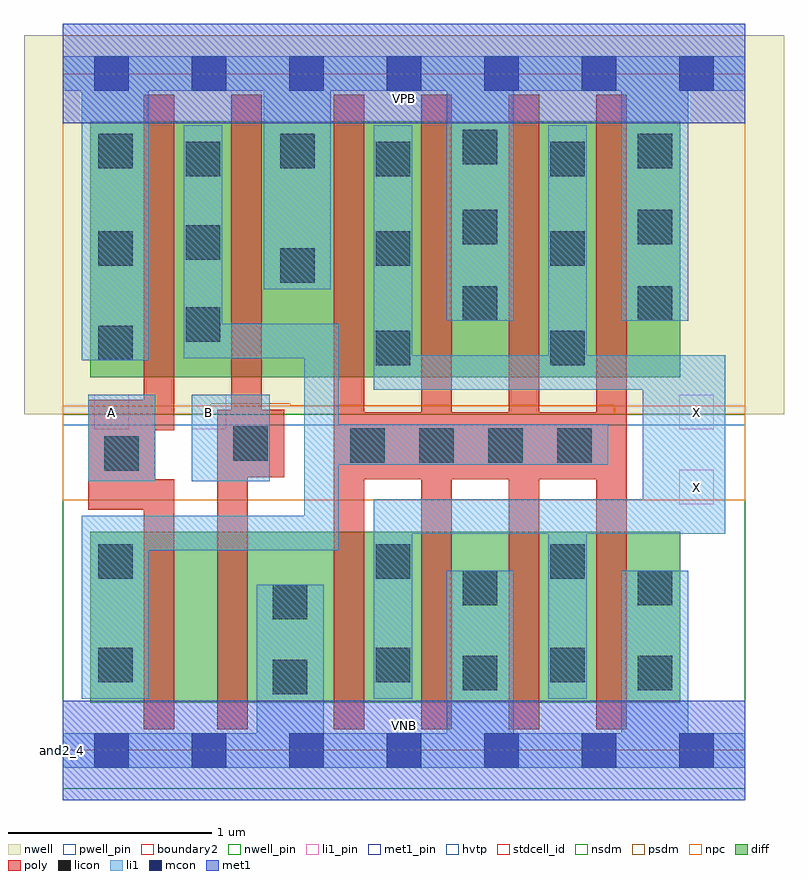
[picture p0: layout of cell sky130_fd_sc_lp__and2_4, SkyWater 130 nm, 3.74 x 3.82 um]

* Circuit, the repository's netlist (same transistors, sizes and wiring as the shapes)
* Copyright 2020 The SkyWater PDK Authors
*
* Licensed under the Apache License, Version 2.0 (the "License");
* you may not use this file except in compliance with the License.
* You may obtain a copy of the License at
*
*     https://www.apache.org/licenses/LICENSE-2.0
*
* Unless required by applicable law or agreed to in writing, software
* distributed under the License is distributed on an "AS IS" BASIS,
* WITHOUT WARRANTIES OR CONDITIONS OF ANY KIND, either express or implied.
* See the License for the specific language governing permissions and
* limitations under the License.
*
* SPDX-License-Identifier: Apache-2.0

.SUBCKT sky130_fd_sc_lp__and2_4 A B VGND VNB VPB VPWR X
*.PININFO A:I B:I VGND:I VNB:I VPB:I VPWR:I X:O
MMP0 y A VPWR VPB sky130_fd_pr__pfet_01v8_hvt m=1 w=1.26U l=0.15U mult=1 sa=0.265
+ sb=0.265 sd=0.28 area=0.063 perim=1.14
MMP1 y B VPWR VPB sky130_fd_pr__pfet_01v8_hvt m=1 w=1.26U l=0.15U mult=1 sa=0.265
+ sb=0.265 sd=0.28 area=0.063 perim=1.14
MMIP0 X y VPWR VPB sky130_fd_pr__pfet_01v8_hvt m=4 w=1.26U l=0.15U mult=1 sa=0.265
+ sb=0.265 sd=0.28 area=0.063 perim=1.14
MMN0 y A sndA VNB sky130_fd_pr__nfet_01v8 m=1 w=0.84U l=0.15U mult=1 sa=0.265 sb=0.265
+ sd=0.28 area=0.063 perim=1.14
MMN1 sndA B VGND VNB sky130_fd_pr__nfet_01v8 m=1 w=0.84U l=0.15U mult=1 sa=0.265
+ sb=0.265 sd=0.28 area=0.063 perim=1.14
MMIN0 X y VGND VNB sky130_fd_pr__nfet_01v8 m=4 w=0.84U l=0.15U mult=1 sa=0.265
+ sb=0.265 sd=0.28 area=0.063 perim=1.14
.ENDS sky130_fd_sc_lp__and2_4

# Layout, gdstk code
import gdstk
lib = gdstk.Library(unit=1e-6, precision=1e-09)
def R(c, l, rs):  # rectangles x0, y0, x1, y1
    for r in rs: c.add(gdstk.rectangle(r[:2], r[2:], *l))
def A(c, l, x, y, w, h, nx, ny, dx, dy):  # array of equal rectangles
    R(c, l, [(x+i*dx, y+j*dy, x+i*dx+w, y+j*dy+h) for i in range(nx) for j in range(ny)])
def P(c, l, *ps):  # polygons
    for p in ps: c.add(gdstk.Polygon(p, *l))
nwell_pin = (64, 16)
nwell = (64, 20)
diff = (65, 20)
poly = (66, 20)
licon = (66, 44)
li1_pin = (67, 16)
li1 = (67, 20)
mcon = (67, 44)
met1_pin = (68, 16)
met1 = (68, 20)
hvtp = (78, 44)
stdcell_id = (81, 4)
nsdm = (93, 44)
psdm = (94, 20)
npc = (95, 20)
pwell_pin = (122, 16)
boundary2 = (236, 0)

sky130_fd_sc_lp__and2_4 = lib.new_cell('sky130_fd_sc_lp__and2_4')
R(sky130_fd_sc_lp__and2_4, nwell_pin, [(0,3.085,3.36,3.33)])
R(sky130_fd_sc_lp__and2_4, nwell, [(-0.19,1.655,3.55,3.52)])
R(sky130_fd_sc_lp__and2_4, diff, [(0.135,0.235,3.04,1.075), (0.135,1.835,3.04,3.095)])
P(sky130_fd_sc_lp__and2_4, poly, [(0.55,1.335),(0.455,1.335),(0.455,1.575),(0.55,1.575),(0.55,3.225),(0.4,3.225),(0.4,1.725),(0.125,1.725),(0.125,1.185),(0.4,1.185),(0.4,0.105),(0.55,0.105)],
  [(1.09,1.675),(0.98,1.675),(0.98,3.225),(0.83,3.225),(0.83,1.675),(0.76,1.675),(0.76,0.105),(0.91,0.105),(0.91,1.345),(1.09,1.345)],
  [(2.775,3.225),(2.625,3.225),(2.625,1.665),(2.345,1.665),(2.345,3.225),(2.195,3.225),(2.195,1.665),(1.915,1.665),(1.915,3.225),(1.765,3.225),(1.765,1.665),(1.485,1.665),(1.485,3.225),(1.335,3.225),(1.335,0.105),(1.485,0.105),(1.485,1.335),(1.765,1.335),(1.765,0.105),(1.915,0.105),(1.915,1.335),(2.195,1.335),(2.195,0.105),(2.345,0.105),(2.345,1.335),(2.625,1.335),(2.625,0.105),(2.775,0.105)])
A(sky130_fd_sc_lp__and2_4, licon, 1.415, 1.415, 0.17, 0.17, 4, 1, 0.34, 0)
A(sky130_fd_sc_lp__and2_4, licon, 2.83, 2.115, 0.17, 0.17, 1, 3, 0, 0.375)
R(sky130_fd_sc_lp__and2_4, licon, [(1.035,0.275,1.205,0.445), (1.97,0.295,2.14,0.465), (2.83,0.295,3,0.465), (0.175,0.335,0.345,0.505), (1.54,0.335,1.71,0.505), (2.4,0.335,2.57,0.505), (1.035,0.645,1.205,0.815), (1.97,0.715,2.14,0.885), (2.83,0.715,3,0.885), (0.175,0.845,0.345,1.015), (1.54,0.845,1.71,1.015), (2.4,0.845,2.57,1.015), (0.205,1.375,0.375,1.545), (0.84,1.425,1.01,1.595), (1.54,1.895,1.71,2.065), (2.4,1.895,2.57,2.065), (0.175,1.92,0.345,2.09), (0.605,2.01,0.775,2.18), (1.97,2.115,2.14,2.285), (1.07,2.3,1.24,2.47), (0.175,2.385,0.345,2.555), (1.54,2.385,1.71,2.555), (2.4,2.385,2.57,2.555), (0.605,2.415,0.775,2.585), (1.97,2.49,2.14,2.66), (0.605,2.825,0.775,2.995), (1.54,2.825,1.71,2.995), (2.4,2.825,2.57,2.995), (0.175,2.865,0.345,3.035), (1.07,2.865,1.24,3.035), (1.97,2.885,2.14,3.055)])
R(sky130_fd_sc_lp__and2_4, li1_pin, [(3.035,1.21,3.205,1.38), (0.155,1.58,0.325,1.75), (0.635,1.58,0.805,1.75), (3.035,1.58,3.205,1.75)])
R(sky130_fd_sc_lp__and2_4, li1, [(0.125,1.325,0.455,1.75), (0.635,1.325,1.02,1.75)])
P(sky130_fd_sc_lp__and2_4, li1, [(1.89,2.115),(1.89,3.245),(1.32,3.245),(1.32,2.27),(0.99,2.27),(0.99,3.245),(0.425,3.245),(0.425,1.92),(0.095,1.92),(0.095,3.245),(0,3.245),(0,3.415),(3.36,3.415),(3.36,3.245),(3.08,3.245),(3.08,2.115),(2.75,2.115),(2.75,3.245),(2.22,3.245),(2.22,2.115)],
  [(1.89,0.085),(1.89,0.885),(2.22,0.885),(2.22,0.085),(2.75,0.085),(2.75,0.885),(3.08,0.885),(3.08,0.085),(3.36,0.085),(3.36,-0.085),(0,-0.085),(0,0.085),(0.955,0.085),(0.955,0.815),(1.285,0.815),(1.285,0.085)],
  [(1.72,1.945),(2.39,1.945),(2.39,3.075),(2.58,3.075),(2.58,1.945),(3.26,1.945),(3.26,1.065),(2.58,1.065),(2.58,0.255),(2.39,0.255),(2.39,1.065),(1.72,1.065),(1.72,0.255),(1.53,0.255),(1.53,1.235),(2.855,1.235),(2.855,1.775),(1.53,1.775),(1.53,3.075),(1.72,3.075)],
  [(0.785,2.1),(1.36,2.1),(1.36,1.605),(2.685,1.605),(2.685,1.405),(1.36,1.405),(1.36,0.985),(0.425,0.985),(0.425,0.255),(0.095,0.255),(0.095,1.155),(1.19,1.155),(1.19,1.93),(0.595,1.93),(0.595,3.075),(0.785,3.075)])
A(sky130_fd_sc_lp__and2_4, mcon, 0.155, -0.085, 0.17, 0.17, 7, 2, 0.48, 3.33)
R(sky130_fd_sc_lp__and2_4, met1_pin, [(0,0,3.36,0.245), (0,3.085,3.36,3.33)])
R(sky130_fd_sc_lp__and2_4, met1, [(0,-0.245,3.36,0.245), (0,3.085,3.36,3.575)])
R(sky130_fd_sc_lp__and2_4, hvtp, [(0,1.6,3.36,3.33)])
R(sky130_fd_sc_lp__and2_4, stdcell_id, [(0,0,3.36,3.33)])
R(sky130_fd_sc_lp__and2_4, nsdm, [(0,-0.19,3.36,1.655)])
P(sky130_fd_sc_lp__and2_4, psdm, [(3.36,3.52),(0,3.52),(0,1.655),(0.73,1.655),(0.73,1.705),(1.12,1.705),(1.12,1.695),(2.715,1.695),(2.715,1.655),(3.36,1.655)])
R(sky130_fd_sc_lp__and2_4, npc, [(0,1.23,3.36,1.695)])
R(sky130_fd_sc_lp__and2_4, pwell_pin, [(0,0,3.36,0.245)])
R(sky130_fd_sc_lp__and2_4, boundary2, [(0,0,3.36,3.33)])
sky130_fd_sc_lp__and2_4.add(gdstk.Label('VNB', (1.68,0.123), layer=64, texttype=59))
sky130_fd_sc_lp__and2_4.add(gdstk.Label('VPB', (1.68,3.208), layer=64, texttype=5))
sky130_fd_sc_lp__and2_4.add(gdstk.Label('and2_4', (0,0), layer=83, texttype=44))
sky130_fd_sc_lp__and2_4.add(gdstk.Label('VPWR', (1.68,3.208), layer=68, texttype=5))
sky130_fd_sc_lp__and2_4.add(gdstk.Label('VGND', (1.68,0.123), layer=68, texttype=5))
sky130_fd_sc_lp__and2_4.add(gdstk.Label('A', (0.24,1.665), layer=67, texttype=5))
sky130_fd_sc_lp__and2_4.add(gdstk.Label('B', (0.72,1.665), layer=67, texttype=5))
sky130_fd_sc_lp__and2_4.add(gdstk.Label('X', (3.12,1.295), layer=67, texttype=5))
sky130_fd_sc_lp__and2_4.add(gdstk.Label('X', (3.12,1.665), layer=67, texttype=5))

lib.write_gds('sky130_fd_sc_lp__and2_4.gds')
